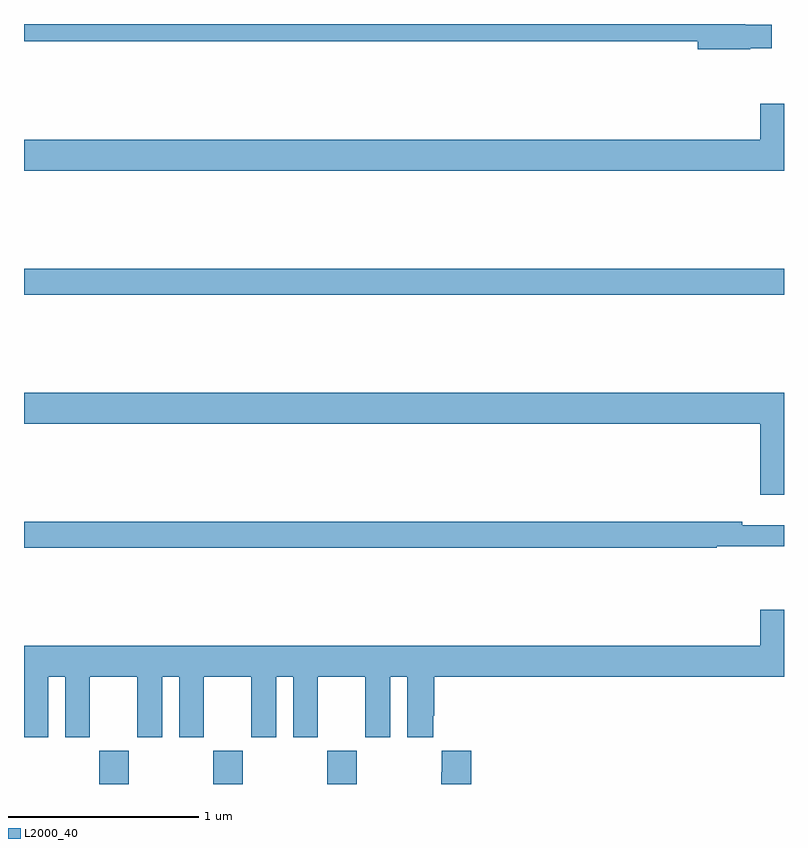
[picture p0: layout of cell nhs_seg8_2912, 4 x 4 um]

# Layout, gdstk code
import gdstk
lib = gdstk.Library(unit=1e-6, precision=1e-09)
def R(c, l, rs):  # rectangles x0, y0, x1, y1
    for r in rs: c.add(gdstk.rectangle(r[:2], r[2:], *l))
def A(c, l, x, y, w, h, nx, ny, dx, dy):  # array of equal rectangles
    R(c, l, [(x+i*dx, y+j*dy, x+i*dx+w, y+j*dy+h) for i in range(nx) for j in range(ny)])
def P(c, l, *ps):  # polygons
    for p in ps: c.add(gdstk.Polygon(p, *l))
L2000_40 = (2000, 40)

nhs_seg8_2912 = lib.new_cell('nhs_seg8_2912')
A(nhs_seg8_2912, L2000_40, 293.395, 1151.9, 0.155, 0.176, 3, 1, 0.6, 0)
R(nhs_seg8_2912, L2000_40, [(293,1154.476,297,1154.612)])
P(nhs_seg8_2912, L2000_40, [(296.822,1155.773),(296.935,1155.773),(296.935,1155.895),(296.796,1155.895),(296.796,1155.9),(293,1155.9),(293,1155.808),(296.546,1155.808),(296.546,1155.766),(296.822,1155.766)],
  [(297,1155.481),(296.876,1155.481),(296.876,1155.292),(293,1155.292),(293,1155.128),(297,1155.128)],
  [(297,1153.96),(293,1153.96),(293,1153.796),(296.876,1153.796),(296.876,1153.422),(297,1153.422)],
  [(296.645,1153.152),(297,1153.152),(297,1153.261),(296.78,1153.261),(296.78,1153.28),(293,1153.28),(293,1153.144),(296.645,1153.144)],
  [(293.128,1152.464),(293.216,1152.464),(293.216,1152.147),(293.347,1152.147),(293.347,1152.464),(293.597,1152.464),(293.597,1152.147),(293.728,1152.147),(293.728,1152.464),(293.816,1152.464),(293.816,1152.147),(293.947,1152.147),(293.947,1152.464),(294.197,1152.464),(294.197,1152.147),(294.328,1152.147),(294.328,1152.464),(294.416,1152.464),(294.416,1152.147),(294.547,1152.147),(294.547,1152.464),(294.797,1152.464),(294.797,1152.147),(294.928,1152.147),(294.928,1152.464),(295.016,1152.464),(295.016,1152.147),(295.153,1152.147),(295.153,1152.259),(295.16,1152.259),(295.16,1152.464),(297,1152.464),(297,1152.817),(296.876,1152.817),(296.876,1152.628),(293,1152.628),(293,1152.147),(293.128,1152.147)],
  [(295.355,1152.076),(295.199,1152.076),(295.199,1151.963),(295.195,1151.963),(295.195,1151.9),(295.355,1151.9)])

lib.write_gds('nhs_seg8_2912.gds')
